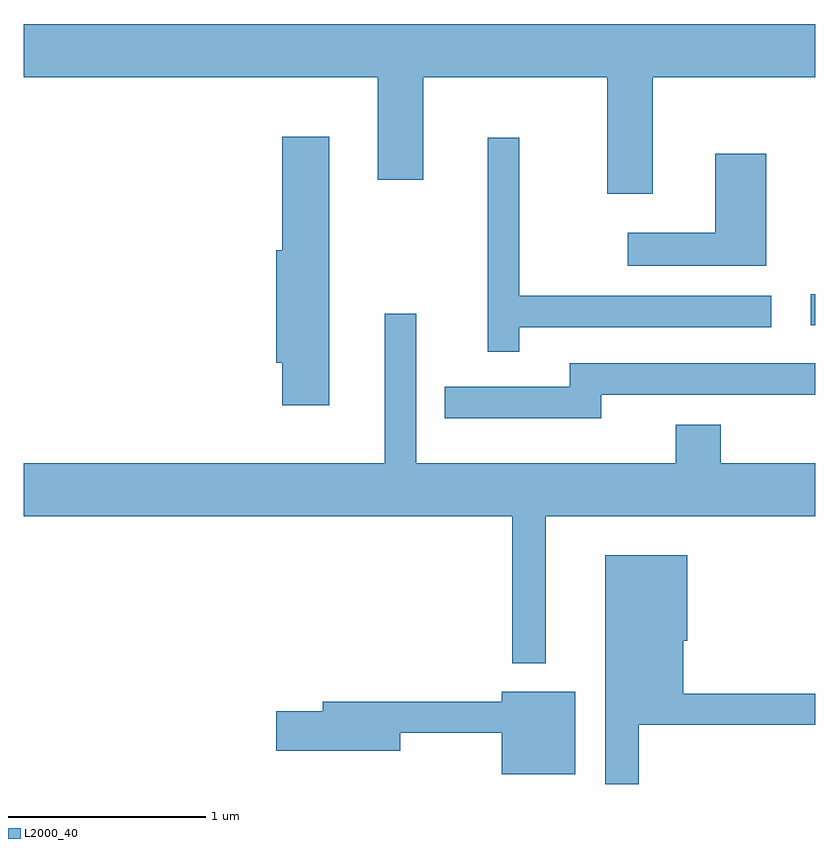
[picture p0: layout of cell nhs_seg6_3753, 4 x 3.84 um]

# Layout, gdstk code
import gdstk
lib = gdstk.Library(unit=1e-6, precision=1e-09)
def R(c, l, rs):  # rectangles x0, y0, x1, y1
    for r in rs: c.add(gdstk.rectangle(r[:2], r[2:], *l))
def P(c, l, *ps):  # polygons
    for p in ps: c.add(gdstk.Polygon(p, *l))
L2000_40 = (2000, 40)

nhs_seg6_3753 = lib.new_cell('nhs_seg6_3753')
R(nhs_seg6_3753, L2000_40, [(301.588,1626.481,301.611,1626.639)])
P(nhs_seg6_3753, L2000_40, [(300.789,1627.736),(301.611,1627.736),(301.611,1628.004),(297.611,1628.004),(297.611,1627.736),(299.401,1627.736),(299.401,1627.216),(299.629,1627.216),(299.629,1627.736),(300.561,1627.736),(300.561,1627.146),(300.789,1627.146)],
  [(299.154,1627.434),(298.916,1627.434),(298.916,1626.859),(298.886,1626.859),(298.886,1626.291),(298.916,1626.291),(298.916,1626.076),(299.154,1626.076)],
  [(300.114,1626.471),(301.388,1626.471),(301.388,1626.629),(300.114,1626.629),(300.114,1627.428),(299.956,1627.428),(299.956,1626.348),(300.114,1626.348)],
  [(301.364,1627.349),(301.106,1627.349),(301.106,1626.949),(300.663,1626.949),(300.663,1626.781),(301.364,1626.781)],
  [(300.249,1625.516),(301.611,1625.516),(301.611,1625.784),(301.134,1625.784),(301.134,1625.979),(300.906,1625.979),(300.906,1625.784),(299.594,1625.784),(299.594,1626.538),(299.436,1626.538),(299.436,1625.784),(297.611,1625.784),(297.611,1625.516),(300.081,1625.516),(300.081,1624.773),(300.249,1624.773)],
  [(300.529,1626.131),(301.611,1626.131),(301.611,1626.289),(300.371,1626.289),(300.371,1626.169),(299.738,1626.169),(299.738,1626.011),(300.529,1626.011)],
  [(300.719,1624.461),(301.611,1624.461),(301.611,1624.619),(300.944,1624.619),(300.944,1624.886),(300.964,1624.886),(300.964,1625.319),(300.551,1625.319),(300.551,1624.162),(300.719,1624.162)],
  [(300.399,1624.629),(300.026,1624.629),(300.026,1624.579),(299.121,1624.579),(299.121,1624.529),(298.886,1624.529),(298.886,1624.331),(299.514,1624.331),(299.514,1624.421),(300.026,1624.421),(300.026,1624.211),(300.399,1624.211)])

lib.write_gds('nhs_seg6_3753.gds')
